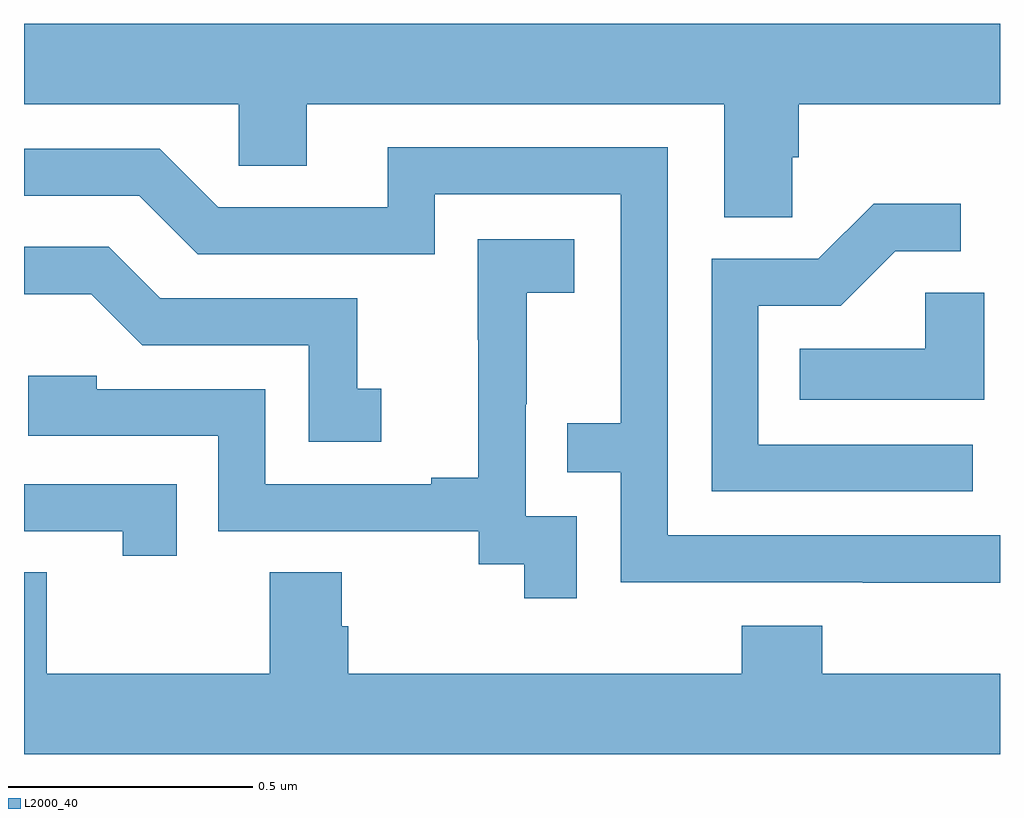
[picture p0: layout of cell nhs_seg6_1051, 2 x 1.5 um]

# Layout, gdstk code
import gdstk
lib = gdstk.Library(unit=1e-6, precision=1e-09)
def P(c, l, *ps):  # polygons
    for p in ps: c.add(gdstk.Polygon(p, *l))
L2000_40 = (2000, 40)

nhs_seg6_1051 = lib.new_cell('nhs_seg6_1051')
P(nhs_seg6_1051, L2000_40, [(125.574,941.899),(125.588,941.899),(125.588,942.008),(126,942.008),(126,942.172),(124,942.172),(124,942.008),(124.44,942.008),(124.44,941.881),(124.579,941.881),(124.579,942.008),(125.435,942.008),(125.435,941.776),(125.574,941.776)],
  [(126,941.124),(125.319,941.124),(125.319,941.919),(124.745,941.919),(124.745,941.796),(124.398,941.796),(124.278,941.916),(124,941.916),(124,941.82),(124.236,941.82),(124.356,941.7),(124.842,941.7),(124.842,941.823),(125.223,941.823),(125.223,941.354),(125.113,941.354),(125.113,941.253),(125.223,941.253),(125.223,941.028),(125.719,941.028),(125.719,941.027),(126,941.027)],
  [(125.944,941.31),(125.505,941.31),(125.505,941.595),(125.674,941.595),(125.785,941.706),(125.92,941.706),(125.92,941.804),(125.741,941.804),(125.628,941.691),(125.409,941.691),(125.409,941.214),(125.944,941.214)],
  [(125.133,941.163),(125.028,941.163),(125.028,941.393),(125.03,941.393),(125.03,941.621),(125.128,941.621),(125.128,941.731),(124.93,941.731),(124.93,941.525),(124.931,941.525),(124.931,941.242),(124.835,941.242),(124.835,941.229),(124.494,941.229),(124.494,941.424),(124.149,941.424),(124.149,941.451),(124.009,941.451),(124.009,941.328),(124.398,941.328),(124.398,941.133),(124.932,941.133),(124.932,941.065),(125.025,941.065),(125.025,940.995),(125.133,940.995)],
  [(124.732,941.425),(124.683,941.425),(124.683,941.61),(124.279,941.61),(124.174,941.715),(124,941.715),(124,941.618),(124.138,941.618),(124.242,941.514),(124.584,941.514),(124.584,941.316),(124.732,941.316)],
  [(125.968,941.621),(125.847,941.621),(125.847,941.506),(125.59,941.506),(125.59,941.402),(125.968,941.402)],
  [(124.313,941.229),(124,941.229),(124,941.133),(124.202,941.133),(124.202,941.082),(124.313,941.082)],
  [(126,940.84),(125.636,940.84),(125.636,940.939),(125.471,940.939),(125.471,940.84),(124.664,940.84),(124.664,940.938),(124.651,940.938),(124.651,941.048),(124.504,941.048),(124.504,940.84),(124.047,940.84),(124.047,941.048),(124,941.048),(124,940.676),(126,940.676)])

lib.write_gds('nhs_seg6_1051.gds')
